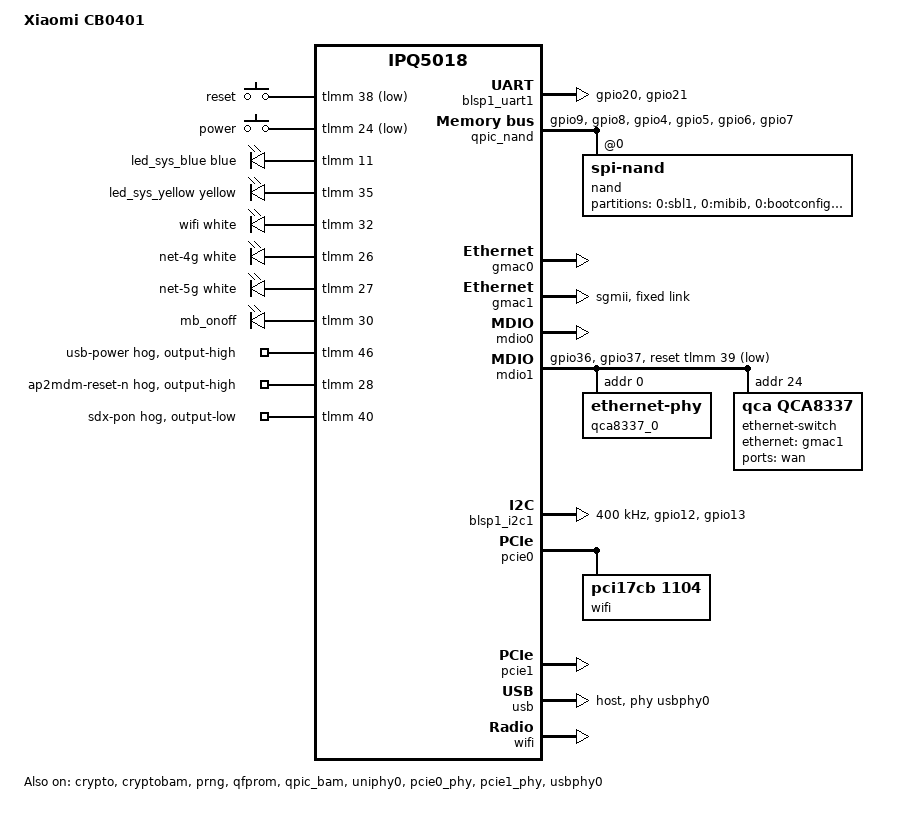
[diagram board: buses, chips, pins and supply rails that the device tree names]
/dts-v1/;
/*
 * Xiaomi CB0401 (the original, non-V2 5G CPE)
 *
 * Board: IPQ5018/AP-MP03.6-C1, 128 MiB SPI-NAND, QCN9074 on PCIe0, a
 * 5G modem (the same Quectel RG520N, 17cb:0308, as the V2) on PCIe1. Same
 * reference design as the CB0401V2, so pins, LEDs, buttons, the switch layout
 * and the modem are shared; the flash layout differs.
 *
 * EXPERIMENTAL. The hardware here follows a CB0401 owner's OpenWrt DTS that
 * was tested on a real unit (WiFi, both LAN ports and the modem working): fw
 * memory mode 1, no TrustZone NAND quirks (unlike the V2, this unit's QPIC is
 * not locked), the SGMII link without forced no-autoneg, and the modem
 * powered on by pulsing gpio30. The RAM (1 GB) is left to the bootloader
 * (U-Boot fixes up the memory node from SMEM at bootm); no reserved-memory is
 * pinned here, so if a unit shows stock engines clobbering RAM, its
 * /proc/iomem no-map regions would need adding.
 *
 * The unit is secure-boot fused: it runs OpenWrt through U-Boot bootm. The
 * merged "ubi" partition (stock rootfs + rootfs_1 + overlay) and the ESP32-C3
 * rescue console are this port's own choice, for a full-space, sysupgradeable
 * install; see tools/cb0401/.
 */

#include "ipq5018.dtsi"
#include "ipq5018-ess.dtsi"
#include "ipq5018-nss.dtsi"
#include "ipq5018-q6-fixed-mem.dtsi"

#include <dt-bindings/gpio/gpio.h>
#include <dt-bindings/input/input.h>
#include <dt-bindings/leds/common.h>

/ {
	model = "Xiaomi CB0401";
	compatible = "xiaomi,cb0401", "qcom,ipq5018";

	aliases {
		label-mac-device = &gmac0;
		led-boot = &led_sys_blue;
		led-failsafe = &led_sys_yellow;
		led-running = &led_sys_blue;
		led-upgrade = &led_sys_yellow;
		serial0 = &blsp1_uart1;
	};

	chosen {
		bootargs-append = " coherent_pool=2M pcie_port_pm=off";
		stdout-path = "serial0:115200n8";
	};

	keys {
		compatible = "gpio-keys";

		pinctrl-0 = <&button_pins>;
		pinctrl-names = "default";

		reset-button {
			label = "reset";
			gpios = <&tlmm 38 GPIO_ACTIVE_LOW>;
			linux,code = <KEY_RESTART>;
			debounce-interval = <60>;
		};

		power-button {
			label = "power";
			gpios = <&tlmm 24 GPIO_ACTIVE_LOW>;
			linux,code = <KEY_POWER>;
			debounce-interval = <60>;
		};
	};

	leds {
		compatible = "gpio-leds";

		pinctrl-0 = <&leds_pins>;
		pinctrl-names = "default";

		led_sys_blue: sys-blue {
			color = <LED_COLOR_ID_BLUE>;
			function = LED_FUNCTION_POWER;
			gpios = <&tlmm 11 GPIO_ACTIVE_HIGH>;
		};

		led_sys_yellow: sys-yellow {
			color = <LED_COLOR_ID_YELLOW>;
			function = LED_FUNCTION_POWER;
			gpios = <&tlmm 35 GPIO_ACTIVE_HIGH>;
		};

		wifi {
			color = <LED_COLOR_ID_WHITE>;
			function = LED_FUNCTION_WLAN;
			gpios = <&tlmm 32 GPIO_ACTIVE_HIGH>;
		};

		net-4g {
			color = <LED_COLOR_ID_WHITE>;
			function = LED_FUNCTION_WAN_ONLINE;
			function-enumerator = <4>;
			gpios = <&tlmm 26 GPIO_ACTIVE_HIGH>;
		};

		net-5g {
			color = <LED_COLOR_ID_WHITE>;
			function = LED_FUNCTION_WAN_ONLINE;
			function-enumerator = <5>;
			gpios = <&tlmm 27 GPIO_ACTIVE_HIGH>;
		};

		/*
		 * Not a real LED: the modem PWRKEY ("mb_onoff", gpio30), exposed the
		 * way the stock firmware uses it. cb0401v2-modem pulses it high
		 * for 1 s at boot to switch the modem on; holding it high (hogging it)
		 * powers the modem off, so it must be a pulse, not a hog.
		 */
		mb_onoff {
			label = "mb_onoff";
			gpios = <&tlmm 30 GPIO_ACTIVE_HIGH>;
			default-state = "off";
		};
	};
};

&sleep_clk {
	clock-frequency = <32000>;
};

&xo_board_clk {
	clock-div = <4>;
	clock-mult = <1>;
};

&blsp1_uart1 {
	status = "okay";

	pinctrl-0 = <&serial_0_pins>;
	pinctrl-names = "default";
};

&crypto {
	status = "okay";
};

&cryptobam {
	status = "okay";
};

&prng {
	status = "okay";
};

&qfprom {
	status = "okay";
};

&qpic_bam {
	status = "okay";
};

&qpic_nand {
	pinctrl-0 = <&qpic_pins>;
	pinctrl-names = "default";
	status = "okay";

	nand@0 {
		compatible = "spi-nand";
		reg = <0>;
		nand-ecc-engine = <&qpic_nand>;
		nand-bus-width = <8>;

		partitions {
			compatible = "fixed-partitions";
			#address-cells = <1>;
			#size-cells = <1>;

			partition@0 {
				label = "0:sbl1";
				reg = <0x00000000 0x80000>;
				read-only;
			};

			partition@80000 {
				label = "0:mibib";
				reg = <0x00080000 0x80000>;
				read-only;
			};

			partition@100000 {
				label = "0:bootconfig";
				reg = <0x00100000 0x40000>;
				read-only;
			};

			partition@140000 {
				label = "0:bootconfig1";
				reg = <0x00140000 0x40000>;
				read-only;
			};

			partition@180000 {
				label = "0:qsee";
				reg = <0x00180000 0x100000>;
				read-only;
			};

			partition@280000 {
				label = "0:qsee_1";
				reg = <0x00280000 0x100000>;
				read-only;
			};

			partition@380000 {
				label = "0:devcfg";
				reg = <0x00380000 0x40000>;
				read-only;
			};

			partition@3c0000 {
				label = "0:devcfg_1";
				reg = <0x003c0000 0x40000>;
				read-only;
			};

			partition@400000 {
				label = "0:cdt";
				reg = <0x00400000 0x40000>;
				read-only;
			};

			partition@440000 {
				label = "0:cdt_1";
				reg = <0x00440000 0x40000>;
				read-only;
			};

			partition@480000 {
				label = "0:appsblenv";
				reg = <0x00480000 0x80000>;
				read-only;
			};

			partition@500000 {
				label = "0:appsbl";
				reg = <0x00500000 0x140000>;
				read-only;
			};

			partition@640000 {
				label = "0:appsbl_1";
				reg = <0x00640000 0x140000>;
				read-only;
			};

			partition@780000 {
				label = "0:art";
				reg = <0x00780000 0x100000>;
				read-only;

				nvmem-layout {
					compatible = "fixed-layout";
					#address-cells = <1>;
					#size-cells = <1>;

					mac_addr_gmac0: macaddr@0 {
						reg = <0x0 0x6>;
					};

					mac_addr_gmac1: macaddr@6 {
						reg = <0x6 0x6>;
					};
				};
			};

			partition@880000 {
				label = "0:training";
				reg = <0x00880000 0x80000>;
				read-only;
			};

			partition@900000 {
				label = "bdata";
				reg = <0x00900000 0x80000>;
				read-only;
			};

			partition@980000 {
				label = "crash";
				reg = <0x00980000 0x80000>;
				read-only;
			};

			partition@a00000 {
				label = "crash_syslog";
				reg = <0x00a00000 0x80000>;
				read-only;
			};

			/*
			 * The stock rootfs, rootfs_1 and overlay partitions are
			 * contiguous; OpenWrt uses them as one UBI (kernel, rootfs and
			 * rootfs_data volumes). U-Boot keeps its own MIBIB view (three
			 * partitions); the rescue C3 boots it with a RAM-only mtdparts
			 * "fs" over the same range plus "ubi read kernel".
			 */
			partition@a80000 {
				label = "ubi";
				reg = <0x00a80000 0x7300000>;
			};
		};
	};
};

/*
 * MAC0 -> GE PHY ---------------------------------- lan1
 * MAC1 -> UNIPHY -- SGMII -- QCA8337 port 6, PHY 0 -- wan
 */

&uniphy0 {
	status = "okay";

	assigned-clocks = <&uniphy0 UNIPHY_CLK_REF>;
	assigned-clock-rates = <UNIPHY_REFCLK_25MHZ>;
};

&gmac0 {
	status = "okay";

	label = "lan1";
	nvmem-cells = <&mac_addr_gmac0 0>;
	nvmem-cell-names = "mac-address";
};

&gmac1 {
	status = "okay";

	phy-mode = "sgmii";
	nvmem-cells = <&mac_addr_gmac1 0>;
	nvmem-cell-names = "mac-address";

	fixed-link {
		speed = <1000>;
		full-duplex;
	};
};

&mdio0 {
	status = "okay";
};

&mdio1 {
	status = "okay";

	pinctrl-0 = <&mdio1_pins>;
	pinctrl-names = "default";
	reset-gpios = <&tlmm 39 GPIO_ACTIVE_LOW>;

	qca8337_0: ethernet-phy@0 {
		reg = <0>;
	};

	ethernet-switch@18 {
		compatible = "qca,qca8337";
		reg = <0x18>;
		#address-cells = <1>;
		#size-cells = <0>;

		ports {
			#address-cells = <1>;
			#size-cells = <0>;

			port@1 {
				reg = <1>;
				label = "wan";
				phy-handle = <&qca8337_0>;
			};

			port@6 {
				reg = <6>;
				phy-mode = "sgmii";
				ethernet = <&gmac1>;
				qca,sgmii-enable-pll;

				fixed-link {
					speed = <1000>;
					full-duplex;
				};
			};
		};
	};
};

/*
 * NFC tag (FM11NT08 class, dual interface: the phone reads it over RF, we
 * write it over I2C) on BLSP1 QUP1, which the SoC dtsi does not describe.
 * The stock firmware stores a "tap to join WiFi" NDEF record in it; see
 * /usr/sbin/cb0401-nfc.
 */
&soc {
	blsp1_i2c1: i2c@78b5000 {
		compatible = "qcom,i2c-qup-v2.2.1";
		reg = <0x078b5000 0x600>;
		#address-cells = <1>;
		#size-cells = <0>;
		interrupts = <GIC_SPI 95 IRQ_TYPE_LEVEL_HIGH>;
		clocks = <&gcc GCC_BLSP1_QUP1_I2C_APPS_CLK>,
			 <&gcc GCC_BLSP1_AHB_CLK>;
		clock-names = "core", "iface";
		clock-frequency = <400000>;

		pinctrl-0 = <&i2c0_pins>;
		pinctrl-names = "default";
	};
};

&tlmm {
	button_pins: button-state {
		pins = "gpio24", "gpio38";
		function = "gpio";
		drive-strength = <8>;
		bias-pull-up;
	};

	i2c0_pins: i2c0-state {
		pins = "gpio12", "gpio13";
		function = "blsp0_i2c";
		drive-strength = <8>;
		bias-pull-up;
	};

	leds_pins: leds-state {
		pins = "gpio11", "gpio26", "gpio27", "gpio32", "gpio35";
		function = "gpio";
		drive-strength = <8>;
		bias-pull-down;
	};

	/*
	 * Modem lines as on the stock firmware, confirmed on a real unit:
	 * usb-power and ap2mdm-reset-n held high, sdx-pon held low. gpio30
	 * (mb_onoff) is a momentary PWRKEY and is pulsed from userspace at boot
	 * (cb0401v2-modem), not hogged.
	 */
	usb-power-hog {
		gpio-hog;
		gpios = <46 GPIO_ACTIVE_HIGH>;
		output-high;
		line-name = "usb-power";
	};

	ap2mdm-reset-n-hog {
		gpio-hog;
		gpios = <28 GPIO_ACTIVE_HIGH>;
		output-high;
		line-name = "ap2mdm-reset-n";
	};

	sdx-pon-hog {
		gpio-hog;
		gpios = <40 GPIO_ACTIVE_HIGH>;
		output-low;
		line-name = "sdx-pon";
	};

	mdio1_pins: mdio-state {
		mdc-pins {
			pins = "gpio36";
			function = "mdc";
			drive-strength = <8>;
			bias-pull-up;
		};

		mdio-pins {
			pins = "gpio37";
			function = "mdio";
			drive-strength = <8>;
			bias-pull-up;
		};
	};

	qpic_pins: qpic-state {
		clock-pins {
			pins = "gpio9";
			function = "qspi_clk";
			drive-strength = <8>;
			bias-disable;
		};

		cs-pins {
			pins = "gpio8";
			function = "qspi_cs";
			drive-strength = <8>;
			bias-disable;
		};

		data-pins {
			pins = "gpio4", "gpio5", "gpio6", "gpio7";
			function = "qspi_data";
			drive-strength = <8>;
			bias-disable;
		};
	};

	serial_0_pins: uart0-state {
		pins = "gpio20", "gpio21";
		function = "blsp0_uart0";
		bias-disable;
	};
};

&pcie0_phy {
	status = "okay";
};

&pcie0 {
	status = "okay";

	perst-gpios = <&tlmm 15 GPIO_ACTIVE_LOW>;

	pcie@0 {
		wifi@0,0 {
			status = "okay";

			/* QCN9074: ath11k lacks DT compatible for PCI cards */
			compatible = "pci17cb,1104";
			reg = <0x00010000 0 0 0 0>;

			qcom,ath11k-calibration-variant = "Xiaomi-CB0401";
		};
	};
};

/*
 * PCIe link of the 5G modem: a Quectel RG520N (17cb:0308) as on the V2,
 * data over MHI, AT ports over USB (ttyUSB0-3). Confirmed on a unit.
 */
&pcie1_phy {
	status = "okay";
};

&pcie1 {
	status = "okay";

	/* stock DT uses the same polarity flag for both PERST lines */
	perst-gpios = <&tlmm 18 GPIO_ACTIVE_LOW>;
};

/*
 * USB 2.0 host (dwc3), kept enabled like the stock firmware.
 */
&usbphy0 {
	status = "okay";
};

/* USB 2.0 only: no USB3 PHY, so clock the pipe from UTMI */
&usb {
	phys = <&usbphy0>;
	phy-names = "usb2-phy";
	dr_mode = "host";
	qcom,select-utmi-as-pipe-clk;

	status = "okay";
};

&q6v5_wcss {
	firmware-name = "ath11k/IPQ5018/hw1.0/q6_fw.mdt",
			"ath11k/IPQ5018/hw1.0/m3_fw.mdt";
};

&wifi {
	status = "okay";

	qcom,rproc = <&q6v5_wcss>;
	qcom,ath11k-calibration-variant = "Xiaomi-CB0401";
	/* fw memory mode 1, confirmed working on a real CB0401 unit */
	qcom,ath11k-fw-memory-mode = <1>;
};
